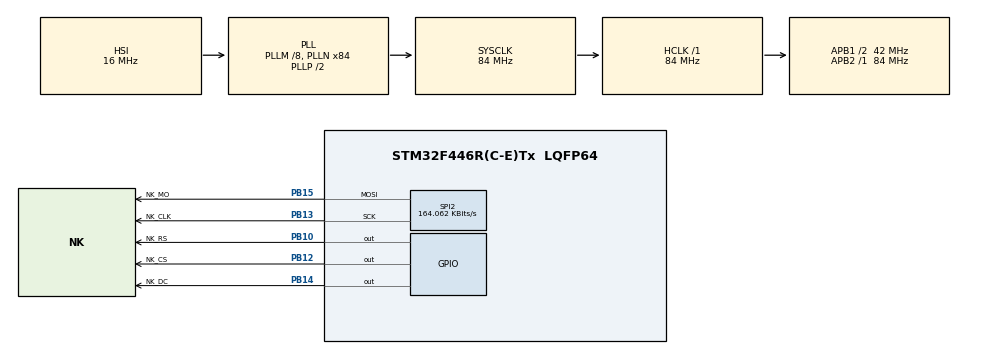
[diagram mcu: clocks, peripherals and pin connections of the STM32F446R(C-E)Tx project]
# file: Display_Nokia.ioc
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Mcu.Family=STM32F4
Dma.SPI2_TX.0.MemInc=DMA_MINC_ENABLE
RCC.CortexFreq_Value=84000000
SPI2.VirtualType=VM_MASTER
PB14.GPIO_Label=NK_DC
TIM11.Prescaler=419
RCC.APB1CLKDivider=RCC_HCLK_DIV2
PB13.GPIO_Label=NK_CLK
NVIC.DMA1_Stream4_IRQn=true\:6\:0\:true\:false\:true\:false\:true
PB15.Signal=SPI2_MOSI
PB13.Signal=SPI2_SCK
Dma.SPI2_TX.0.Instance=DMA1_Stream4
RCC.SYSCLKSource=RCC_SYSCLKSOURCE_PLLCLK
ProjectManager.StackSize=0x400
VP_TIM11_VS_ClockSourceINT.Mode=Enable_Timer
Dma.SPI2_TX.0.MemDataAlignment=DMA_MDATAALIGN_BYTE
SPI2.CLKPolarity=SPI_POLARITY_HIGH
ProjectManager.TargetToolchain=STM32CubeIDE
PB10.GPIO_Label=NK_RS
RCC.HCLKFreq_Value=84000000
RCC.APB2TimFreq_Value=84000000
RCC.USBFreq_Value=84000000
Dma.SPI2_TX.0.Mode=DMA_NORMAL
RCC.AHBFreq_Value=84000000
SPI2.BaudRatePrescaler=SPI_BAUDRATEPRESCALER_256
PB10.Signal=GPIO_Output
PB14.Signal=GPIO_Output
NVIC.TIM1_TRG_COM_TIM11_IRQn=true\:4\:0\:true\:false\:true\:true\:true
board=custom
RCC.VCOOutputFreq_Value=168000000
PB15.Mode=TX_Only_Simplex_Unidirect_Master
TIM11.Period=999
PB12.GPIO_Label=NK_CS
RCC.APB2Freq_Value=84000000
PB15.GPIO_Label=NK_MO
Dma.SPI2_TX.0.PeriphDataAlignment=DMA_PDATAALIGN_BYTE
SPI2.CalculateBaudRate=164.062 KBits/s
NVIC.SPI2_IRQn=true\:2\:0\:true\:false\:true\:true\:true
Mcu.Name=STM32F446R(C-E)Tx
Dma.SPI2_TX.0.FIFOMode=DMA_FIFOMODE_DISABLE
Dma.SPI2_TX.0.Priority=DMA_PRIORITY_LOW
RCC.SYSCLKFreq_VALUE=84000000
Mcu.Package=LQFP64
SPI2.Mode=SPI_MODE_MASTER
ProjectManager.HeapSize=0x200
SPI2.CLKPhase=SPI_PHASE_2EDGE
Dma.SPI2_TX.0.PeriphInc=DMA_PINC_DISABLE
NVIC.PriorityGroup=NVIC_PRIORITYGROUP_4
RCC.PLLM=8
RCC.PLLN=84
RCC.APB1TimFreq_Value=84000000
SPI2.Direction=SPI_DIRECTION_2LINES
PB13.Mode=TX_Only_Simplex_Unidirect_Master
Dma.SPI2_TX.0.Direction=DMA_MEMORY_TO_PERIPH
Dma.Request0=SPI2_TX
RCC.APB1Freq_Value=42000000
PB12.Signal=GPIO_Output

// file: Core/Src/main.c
/* USER CODE BEGIN Header */

/*!
  * ***
  * <h1>** Display LCD5110 + HALframework  **</h1>
  * ***
  *
  * \author		Samuca
  * \date		09/21 to 10/21
  *
  */

/* USER CODE END Header */
#include "main.h"
#include "dma.h"
#include "spi.h"
#include "tim.h"
#include "gpio.h"

/* USER CODE BEGIN Includes */
#include <stdio.h>
#include "LCD.h"
#include "imagem.h"
#include "gremio.h"

/* USER CODE END Includes */

/* USER CODE BEGIN PD */

// define o delay entre as telas. DTELA=1 --> 5ms.
#define DTELA 400; //2s

/* USER CODE END PD */

/* USER CODE BEGIN PV */

uint16_t delayTela;
uint8_t me_display;
uint8_t tela;

uint16_t a;

LCD_HandleTypeDef hlcd; // handle do display
/* USER CODE END PV */

void SystemClock_Config(void);

int main(void)
{

  /* MCU Configuration--------------------------------------------------------*/

  /* Reset of all peripherals, Initializes the Flash interface and the Systick. */
  HAL_Init();

  /* Configure the system clock */
  SystemClock_Config();

  /* Initialize all configured peripherals */
  MX_GPIO_Init();
  MX_DMA_Init();
  MX_SPI2_Init();
  MX_TIM11_Init();
  /* USER CODE BEGIN 2 */

  HAL_TIM_Base_Start_IT(&htim11);

  // ====================================================================================
  // --- Configurações do hardware do display ---
  	hlcd.hspi = &hspi2;

  	hlcd.Mode = LCD_DMA;

  	hlcd.CS_Port = NK_CS_GPIO_Port;
  	hlcd.CS_Pin = NK_CS_Pin;

  	hlcd.DC_Port = NK_DC_GPIO_Port;
  	hlcd.DC_Pin = NK_DC_Pin;

  	hlcd.RS_Port = NK_RS_GPIO_Port;
  	hlcd.RS_Pin = NK_RS_Pin;

  	// manda a estrutura de dados com as configurações do display pra inicialização
	LCD5110_init(&hlcd);

	// Telas iniciais
	while(LCD5110_set_XY(0, 0)!=HAL_OK){};
	while(LCD5110_write_str("Bairro da")!=HAL_OK){};
	while(LCD5110_set_XY(0, 1)!=HAL_OK){};
	while(LCD5110_write_str("Azenha")!=HAL_OK){};
	//HAL_Delay(DISP_DELAY);

  /* USER CODE END 2 */

  /* Infinite loop */
  /* USER CODE BEGIN WHILE */

	// inicialização das variáveis de controle da tela
	tela = 1;
	me_display = 0;
	delayTela = DTELA;

  while (1)
  {

    /* USER CODE END WHILE */

  }
}

void SystemClock_Config(void)
{
  RCC_OscInitTypeDef RCC_OscInitStruct = {0};
  RCC_ClkInitTypeDef RCC_ClkInitStruct = {0};

  /** Configure the main internal regulator output voltage
  */
  __HAL_RCC_PWR_CLK_ENABLE();
  __HAL_PWR_VOLTAGESCALING_CONFIG(PWR_REGULATOR_VOLTAGE_SCALE3);
  /** Initializes the RCC Oscillators according to the specified parameters
  * in the RCC_OscInitTypeDef structure.
  */
  RCC_OscInitStruct.OscillatorType = RCC_OSCILLATORTYPE_HSI;
  RCC_OscInitStruct.HSIState = RCC_HSI_ON;
  RCC_OscInitStruct.HSICalibrationValue = RCC_HSICALIBRATION_DEFAULT;
  RCC_OscInitStruct.PLL.PLLState = RCC_PLL_ON;
  RCC_OscInitStruct.PLL.PLLSource = RCC_PLLSOURCE_HSI;
  RCC_OscInitStruct.PLL.PLLM = 8;
  RCC_OscInitStruct.PLL.PLLN = 84;
  RCC_OscInitStruct.PLL.PLLP = RCC_PLLP_DIV2;
  RCC_OscInitStruct.PLL.PLLQ = 2;
  RCC_OscInitStruct.PLL.PLLR = 2;
  if (HAL_RCC_OscConfig(&RCC_OscInitStruct) != HAL_OK)
  {
    Error_Handler();
  }
  /** Initializes the CPU, AHB and APB buses clocks
  */
  RCC_ClkInitStruct.ClockType = RCC_CLOCKTYPE_HCLK|RCC_CLOCKTYPE_SYSCLK
                              |RCC_CLOCKTYPE_PCLK1|RCC_CLOCKTYPE_PCLK2;
  RCC_ClkInitStruct.SYSCLKSource = RCC_SYSCLKSOURCE_PLLCLK;
  RCC_ClkInitStruct.AHBCLKDivider = RCC_SYSCLK_DIV1;
  RCC_ClkInitStruct.APB1CLKDivider = RCC_HCLK_DIV2;
  RCC_ClkInitStruct.APB2CLKDivider = RCC_HCLK_DIV1;

  if (HAL_RCC_ClockConfig(&RCC_ClkInitStruct, FLASH_LATENCY_2) != HAL_OK)
  {
    Error_Handler();
  }
}

/* USER CODE BEGIN 4 */

void HAL_TIM_PeriodElapsedCallback(TIM_HandleTypeDef *htim)
{

	if(htim->Instance == TIM11)
	{
		  switch(me_display)
		  {
			case 0:
				delayTela--;

				  if (delayTela == 0)
				  {
					  delayTela=DTELA;
					  me_display++;
				  }
			break;

			case 1:
				if (LCD5110_clear()==HAL_OK)
				{
					me_display++;
				}
			break;

			case 2:
				if (LCD5110_set_XY(0,0)==HAL_OK)
				{
					me_display += tela;
				}
			break;

			case 3:
				if (LCD5110_write_str("Venho do      bairro da     azenha")==HAL_OK)
				{
					me_display = 0;
					tela++;
				}
			break;

			case 4:
				if (LCD5110_write(gremio, 504)==HAL_OK)
				{
					me_display = 0;
					tela++;
				}
			break;

			case 5:
				if (LCD5110_write_str("bairro do     monumental")==HAL_OK)
				{
					me_display = 0;
					tela++;
				}
			break;

			case 6:
				if (LCD5110_write(gremio, 504)==HAL_OK)
				{
					me_display = 0;
					tela=1;
				}
			break;
		  }
	}

}

/* USER CODE END 4 */

void Error_Handler(void)
{
  __disable_irq();
  while (1)
  {
  }
}

/************************ (C) COPYRIGHT STMicroelectronics *****END OF FILE****/
